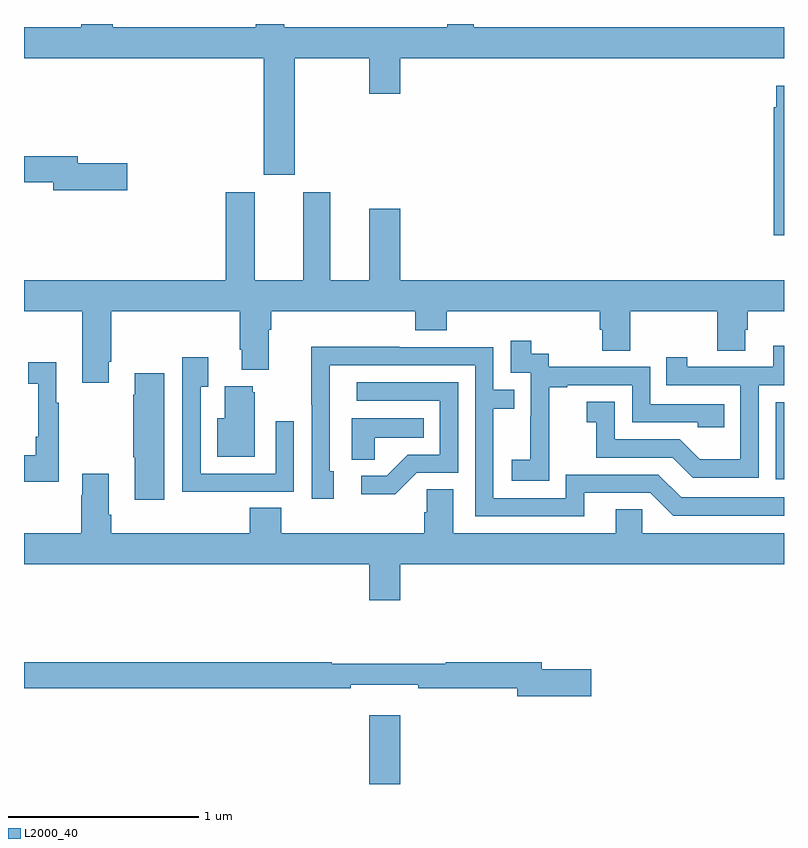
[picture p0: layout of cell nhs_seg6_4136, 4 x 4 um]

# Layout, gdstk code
import gdstk
lib = gdstk.Library(unit=1e-6, precision=1e-09)
def R(c, l, rs):  # rectangles x0, y0, x1, y1
    for r in rs: c.add(gdstk.rectangle(r[:2], r[2:], *l))
def P(c, l, *ps):  # polygons
    for p in ps: c.add(gdstk.Polygon(p, *l))
L2000_40 = (2000, 40)

nhs_seg6_4136 = lib.new_cell('nhs_seg6_4136')
R(nhs_seg6_4136, L2000_40, [(356.816,959.5,356.98,959.863), (358.956,961.104,359,961.509)])
P(nhs_seg6_4136, L2000_40, [(356.425,963.32),(356.816,963.32),(356.816,963.132),(356.98,963.132),(356.98,963.32),(359,963.32),(359,963.484),(357.366,963.484),(357.366,963.5),(357.227,963.5),(357.227,963.484),(356.371,963.484),(356.371,963.5),(356.219,963.5),(356.219,963.484),(355.466,963.484),(355.466,963.5),(355.301,963.5),(355.301,963.484),(355,963.484),(355,963.32),(356.261,963.32),(356.261,962.706),(356.425,962.706)],
  [(359,963.175),(358.958,963.175),(358.958,963.062),(358.946,963.062),(358.946,962.388),(359,962.388)],
  [(355.543,962.768),(355.282,962.768),(355.282,962.804),(355,962.804),(355,962.668),(355.154,962.668),(355.154,962.626),(355.543,962.626)],
  [(355.447,961.723),(355.46,961.723),(355.46,961.988),(356.135,961.988),(356.135,961.786),(356.147,961.786),(356.147,961.679),(356.287,961.679),(356.287,961.892),(356.3,961.892),(356.3,961.988),(357.059,961.988),(357.059,961.889),(357.224,961.889),(357.224,961.988),(358.031,961.988),(358.031,961.89),(358.043,961.89),(358.043,961.78),(358.191,961.78),(358.191,961.988),(358.648,961.988),(358.648,961.78),(358.795,961.78),(358.795,961.89),(358.808,961.89),(358.808,961.988),(359,961.988),(359,962.152),(356.98,962.152),(356.98,962.527),(356.816,962.527),(356.816,962.152),(356.611,962.152),(356.611,962.614),(356.471,962.614),(356.471,962.152),(356.215,962.152),(356.215,962.614),(356.063,962.614),(356.063,962.152),(355,962.152),(355,961.988),(355.307,961.988),(355.307,961.611),(355.447,961.611)],
  [(357.765,961.303),(357.764,961.303),(357.764,961.587),(357.859,961.587),(357.859,961.599),(358.2,961.599),(358.2,961.404),(358.545,961.404),(358.545,961.377),(358.685,961.377),(358.685,961.5),(358.296,961.5),(358.296,961.695),(357.762,961.695),(357.762,961.764),(357.67,961.764),(357.67,961.834),(357.561,961.834),(357.561,961.665),(357.666,961.665),(357.666,961.436),(357.665,961.436),(357.665,961.207),(357.567,961.207),(357.567,961.097),(357.765,961.097)],
  [(358.866,961.599),(359,961.599),(359,961.807),(358.943,961.807),(358.943,961.695),(358.492,961.695),(358.492,961.747),(358.381,961.747),(358.381,961.599),(358.77,961.599),(358.77,961.21),(358.556,961.21),(358.452,961.314),(358.11,961.314),(358.11,961.513),(357.963,961.513),(357.963,961.403),(358.012,961.403),(358.012,961.218),(358.415,961.218),(358.52,961.113),(358.866,961.113)],
  [(357.949,961.032),(358.296,961.032),(358.416,960.912),(359,960.912),(359,961.008),(358.458,961.008),(358.338,961.128),(357.852,961.128),(357.852,961.005),(357.471,961.005),(357.471,961.474),(357.581,961.474),(357.581,961.575),(357.471,961.575),(357.471,961.8),(356.975,961.8),(356.975,961.802),(356.512,961.802),(356.512,961.495),(356.514,961.495),(356.514,961.002),(356.629,961.002),(356.629,961.146),(356.61,961.146),(356.61,961.704),(357.375,961.704),(357.375,960.909),(357.949,960.909)],
  [(356.105,961.038),(356.421,961.038),(356.421,961.408),(356.325,961.408),(356.325,961.134),(355.929,961.134),(355.929,961.591),(355.969,961.591),(355.969,961.747),(355.833,961.747),(355.833,961.037),(356.105,961.037)],
  [(355.183,961.507),(355.171,961.507),(355.171,961.72),(355.023,961.72),(355.023,961.607),(355.074,961.607),(355.074,961.327),(355.062,961.327),(355.062,961.231),(355,961.231),(355,961.091),(355.183,961.091)],
  [(355.738,961.663),(355.583,961.663),(355.583,961.55),(355.576,961.55),(355.576,961.219),(355.583,961.219),(355.583,960.996),(355.738,960.996)],
  [(357.066,961.137),(357.285,961.137),(357.285,961.614),(356.751,961.614),(356.751,961.518),(357.189,961.518),(357.189,961.233),(357.02,961.233),(356.909,961.122),(356.775,961.122),(356.775,961.025),(356.953,961.025)],
  [(356.215,961.563),(356.204,961.563),(356.204,961.594),(356.057,961.594),(356.057,961.426),(356.018,961.426),(356.018,961.223),(356.215,961.223)],
  [(356.847,961.322),(357.104,961.322),(357.104,961.426),(356.726,961.426),(356.726,961.207),(356.847,961.207)],
  [(356.98,960.656),(359,960.656),(359,960.82),(358.254,960.82),(358.254,960.947),(358.115,960.947),(358.115,960.82),(357.259,960.82),(357.259,961.052),(357.12,961.052),(357.12,960.929),(357.107,960.929),(357.107,960.82),(356.354,960.82),(356.354,960.953),(356.189,960.953),(356.189,960.82),(355.46,960.82),(355.46,960.916),(355.447,960.916),(355.447,961.132),(355.307,961.132),(355.307,961.019),(355.3,961.019),(355.3,960.82),(355,960.82),(355,960.656),(356.816,960.656),(356.816,960.468),(356.98,960.468)],
  [(357.985,960.104),(357.724,960.104),(357.724,960.14),(357.22,960.14),(357.22,960.133),(356.62,960.133),(356.62,960.14),(355,960.14),(355,960.004),(356.72,960.004),(356.72,960.023),(357.076,960.023),(357.076,960.004),(357.596,960.004),(357.596,959.962),(357.985,959.962)])

lib.write_gds('nhs_seg6_4136.gds')
